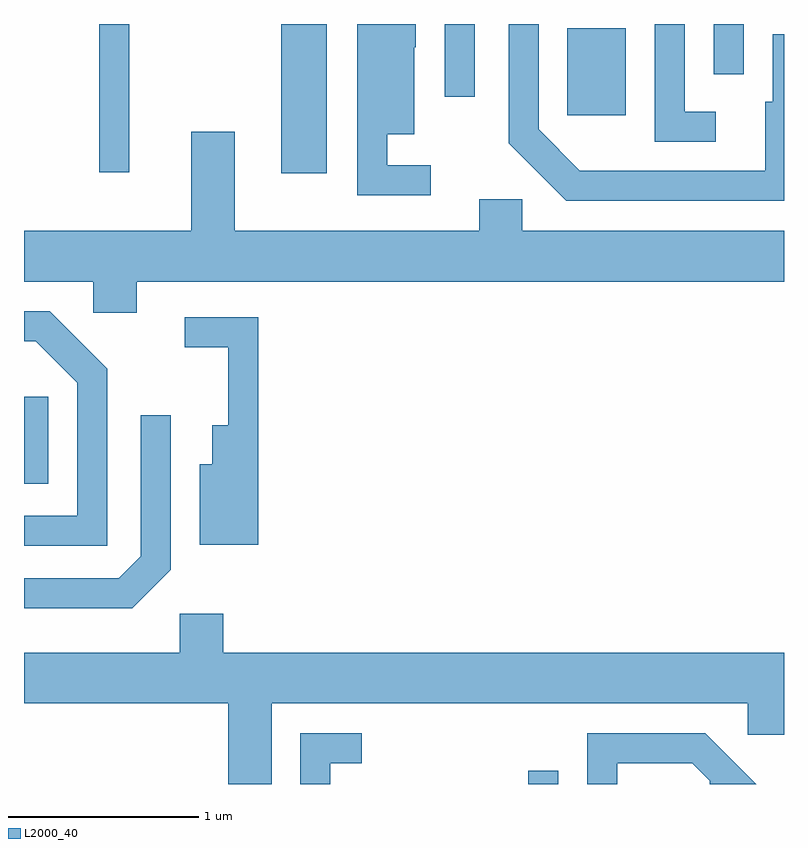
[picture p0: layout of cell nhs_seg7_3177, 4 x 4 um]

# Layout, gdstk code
import gdstk
lib = gdstk.Library(unit=1e-6, precision=1e-09)
def R(c, l, rs):  # rectangles x0, y0, x1, y1
    for r in rs: c.add(gdstk.rectangle(r[:2], r[2:], *l))
def P(c, l, *ps):  # polygons
    for p in ps: c.add(gdstk.Polygon(p, *l))
L2000_40 = (2000, 40)

nhs_seg7_3177 = lib.new_cell('nhs_seg7_3177')
R(nhs_seg7_3177, L2000_40, [(284.266,1798.252,284.424,1798.323), (281.611,1799.831,281.739,1800.289), (282.966,1801.466,283.204,1802.252), (282.006,1801.473,282.164,1802.252), (284.471,1801.771,284.779,1802.229), (283.826,1801.868,283.984,1802.252), (285.241,1801.988,285.399,1802.252)])
P(nhs_seg7_3177, L2000_40, [(285.611,1802.199),(285.551,1802.199),(285.551,1801.844),(285.511,1801.844),(285.511,1801.479),(284.537,1801.479),(284.319,1801.697),(284.319,1802.252),(284.161,1802.252),(284.161,1801.624),(284.464,1801.321),(285.611,1801.321)],
  [(285.253,1801.789),(285.089,1801.789),(285.089,1802.252),(284.931,1802.252),(284.931,1801.631),(285.253,1801.631)],
  [(283.753,1801.509),(283.524,1801.509),(283.524,1801.671),(283.664,1801.671),(283.664,1802.13),(283.674,1802.13),(283.674,1802.252),(283.366,1802.252),(283.366,1801.351),(283.753,1801.351)],
  [(282.204,1800.896),(285.611,1800.896),(285.611,1801.164),(284.234,1801.164),(284.234,1801.329),(284.006,1801.329),(284.006,1801.164),(282.719,1801.164),(282.719,1801.684),(282.491,1801.684),(282.491,1801.164),(281.611,1801.164),(281.611,1800.896),(281.976,1800.896),(281.976,1800.731),(282.204,1800.731)],
  [(282.049,1800.437),(281.747,1800.739),(281.611,1800.739),(281.611,1800.581),(281.674,1800.581),(281.891,1800.364),(281.891,1799.664),(281.611,1799.664),(281.611,1799.506),(282.049,1799.506)],
  [(282.844,1800.709),(282.458,1800.709),(282.458,1800.551),(282.686,1800.551),(282.686,1800.139),(282.601,1800.139),(282.601,1799.934),(282.536,1799.934),(282.536,1799.511),(282.844,1799.511)],
  [(282.384,1799.379),(282.384,1800.193),(282.226,1800.193),(282.226,1799.452),(282.109,1799.334),(281.611,1799.334),(281.611,1799.176),(282.182,1799.176)],
  [(282.914,1798.676),(285.421,1798.676),(285.421,1798.511),(285.611,1798.511),(285.611,1798.944),(282.659,1798.944),(282.659,1799.149),(282.431,1799.149),(282.431,1798.944),(281.611,1798.944),(281.611,1798.676),(282.686,1798.676),(282.686,1798.252),(282.914,1798.252)],
  [(284.734,1798.361),(285.129,1798.361),(285.221,1798.269),(285.221,1798.252),(285.464,1798.252),(285.197,1798.519),(284.576,1798.519),(284.576,1798.252),(284.734,1798.252)],
  [(283.224,1798.361),(283.388,1798.361),(283.388,1798.519),(283.066,1798.519),(283.066,1798.252),(283.224,1798.252)])

lib.write_gds('nhs_seg7_3177.gds')
